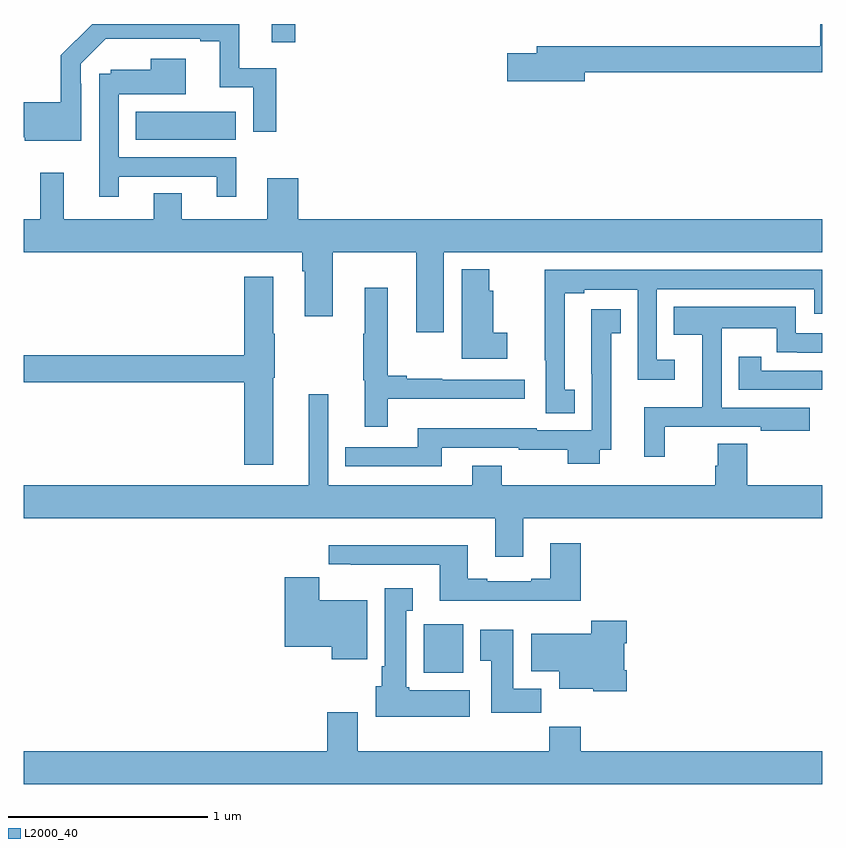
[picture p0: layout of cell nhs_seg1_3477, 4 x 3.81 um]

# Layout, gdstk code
import gdstk
lib = gdstk.Library(unit=1e-6, precision=1e-09)
def R(c, l, rs):  # rectangles x0, y0, x1, y1
    for r in rs: c.add(gdstk.rectangle(r[:2], r[2:], *l))
def P(c, l, *ps):  # polygons
    for p in ps: c.add(gdstk.Polygon(p, *l))
L2000_40 = (2000, 40)

nhs_seg1_3477 = lib.new_cell('nhs_seg1_3477')
R(nhs_seg1_3477, L2000_40, [(301.004,558.95,301.201,559.192), (299.56,561.62,300.061,561.76), (300.242,562.107,300.359,562.199), (299.069,562.197,299.219,562.199)])
P(nhs_seg1_3477, L2000_40, [(301.81,561.958),(303,561.958),(303,562.199),(302.99,562.199),(302.99,562.087),(301.571,562.087),(301.571,562.053),(301.422,562.053),(301.422,561.911),(301.81,561.911)],
  [(299.289,561.899),(299.286,561.899),(299.286,561.999),(299.412,562.125),(299.885,562.125),(299.885,562.113),(299.981,562.113),(299.981,561.882),(300.15,561.882),(300.15,561.66),(300.266,561.66),(300.266,561.978),(300.079,561.978),(300.079,562.199),(299.342,562.199),(299.186,562.042),(299.186,561.808),(299,561.808),(299,561.632),(299.004,561.632),(299.004,561.614),(299.289,561.614)],
  [(299.476,561.435),(299.966,561.435),(299.966,561.333),(300.064,561.333),(300.064,561.531),(299.475,561.531),(299.475,561.848),(299.812,561.848),(299.812,562.024),(299.636,562.024),(299.636,561.97),(299.436,561.97),(299.436,561.951),(299.379,561.951),(299.379,561.333),(299.476,561.333)],
  [(301.105,561.056),(303,561.056),(303,561.22),(300.374,561.22),(300.374,561.427),(300.221,561.427),(300.221,561.22),(299.791,561.22),(299.791,561.35),(299.651,561.35),(299.651,561.22),(299.201,561.22),(299.201,561.454),(299.083,561.454),(299.083,561.22),(299,561.22),(299,561.056),(300.395,561.056),(300.395,560.96),(300.407,560.96),(300.407,560.736),(300.547,560.736),(300.547,561.056),(300.965,561.056),(300.965,560.655),(301.105,560.655)],
  [(301.423,560.652),(301.351,560.652),(301.351,560.862),(301.333,560.862),(301.333,560.971),(301.193,560.971),(301.193,560.522),(301.423,560.522)],
  [(301.76,560.367),(301.711,560.367),(301.711,560.85),(301.807,560.85),(301.807,560.867),(302.076,560.867),(302.076,560.417),(302.26,560.417),(302.26,560.518),(302.172,560.518),(302.172,560.871),(302.961,560.871),(302.961,560.748),(303,560.748),(303,560.967),(302.069,560.967),(302.069,560.968),(301.609,560.968),(301.609,560.515),(301.614,560.515),(301.614,560.248),(301.76,560.248)],
  [(300.25,560.427),(300.258,560.427),(300.258,560.648),(300.25,560.648),(300.25,560.932),(300.104,560.932),(300.104,560.54),(299,560.54),(299,560.404),(300.104,560.404),(300.104,559.992),(300.25,559.992)],
  [(300.823,560.321),(301.51,560.321),(301.51,560.418),(301.097,560.418),(301.097,560.421),(300.919,560.421),(300.919,560.438),(300.823,560.438),(300.823,560.878),(300.707,560.878),(300.707,560.648),(300.7,560.648),(300.7,560.415),(300.707,560.415),(300.707,560.181),(300.823,560.181)],
  [(302.21,560.181),(302.693,560.181),(302.693,560.162),(302.938,560.162),(302.938,560.277),(302.496,560.277),(302.496,560.675),(302.772,560.675),(302.772,560.554),(302.875,560.554),(302.875,560.553),(303,560.553),(303,560.649),(302.868,560.649),(302.868,560.782),(302.257,560.782),(302.257,560.642),(302.399,560.642),(302.399,560.278),(302.108,560.278),(302.108,560.031),(302.21,560.031)],
  [(301.093,560.076),(301.479,560.076),(301.479,560.066),(301.726,560.066),(301.726,559.997),(301.885,559.997),(301.885,560.067),(301.942,560.067),(301.942,560.649),(301.991,560.649),(301.991,560.77),(301.844,560.77),(301.844,560.446),(301.845,560.446),(301.845,560.163),(301.569,560.163),(301.569,560.173),(300.974,560.173),(300.974,560.079),(300.61,560.079),(300.61,559.983),(301.093,559.983)],
  [(303,560.463),(302.694,560.463),(302.694,560.533),(302.581,560.533),(302.581,560.367),(303,560.367)],
  [(301.501,559.724),(303,559.724),(303,559.888),(302.625,559.888),(302.625,560.096),(302.477,560.096),(302.477,559.986),(302.465,559.986),(302.465,559.888),(301.395,559.888),(301.395,559.987),(301.247,559.987),(301.247,559.888),(300.525,559.888),(300.525,560.344),(300.428,560.344),(300.428,559.888),(299,559.888),(299,559.724),(301.361,559.724),(301.361,559.53),(301.501,559.53)],
  [(301.79,559.597),(301.637,559.597),(301.637,559.42),(301.541,559.42),(301.541,559.407),(301.321,559.407),(301.321,559.42),(301.225,559.42),(301.225,559.588),(300.528,559.588),(300.528,559.493),(300.637,559.493),(300.637,559.491),(301.085,559.491),(301.085,559.31),(301.79,559.31)],
  [(300.721,559.312),(300.481,559.312),(300.481,559.428),(300.308,559.428),(300.308,559.079),(300.542,559.079),(300.542,559.016),(300.721,559.016)],
  [(301.234,558.862),(300.93,558.862),(300.93,558.876),(300.916,558.876),(300.916,559.259),(300.949,559.259),(300.949,559.372),(300.809,559.372),(300.809,558.982),(300.794,558.982),(300.794,558.882),(300.764,558.882),(300.764,558.728),(301.234,558.728)],
  [(302.021,558.961),(302.008,558.961),(302.008,559.097),(302.021,559.097),(302.021,559.21),(301.843,559.21),(301.843,559.144),(301.541,559.144),(301.541,558.956),(301.682,558.956),(301.682,558.869),(301.854,558.869),(301.854,558.857),(302.021,558.857)],
  [(301.592,558.868),(301.453,558.868),(301.453,559.165),(301.286,559.165),(301.286,559.009),(301.343,559.009),(301.343,558.75),(301.592,558.75)],
  [(303,558.556),(301.79,558.556),(301.79,558.68),(301.633,558.68),(301.633,558.556),(300.673,558.556),(300.673,558.751),(300.521,558.751),(300.521,558.556),(299,558.556),(299,558.392),(303,558.392)])

lib.write_gds('nhs_seg1_3477.gds')
